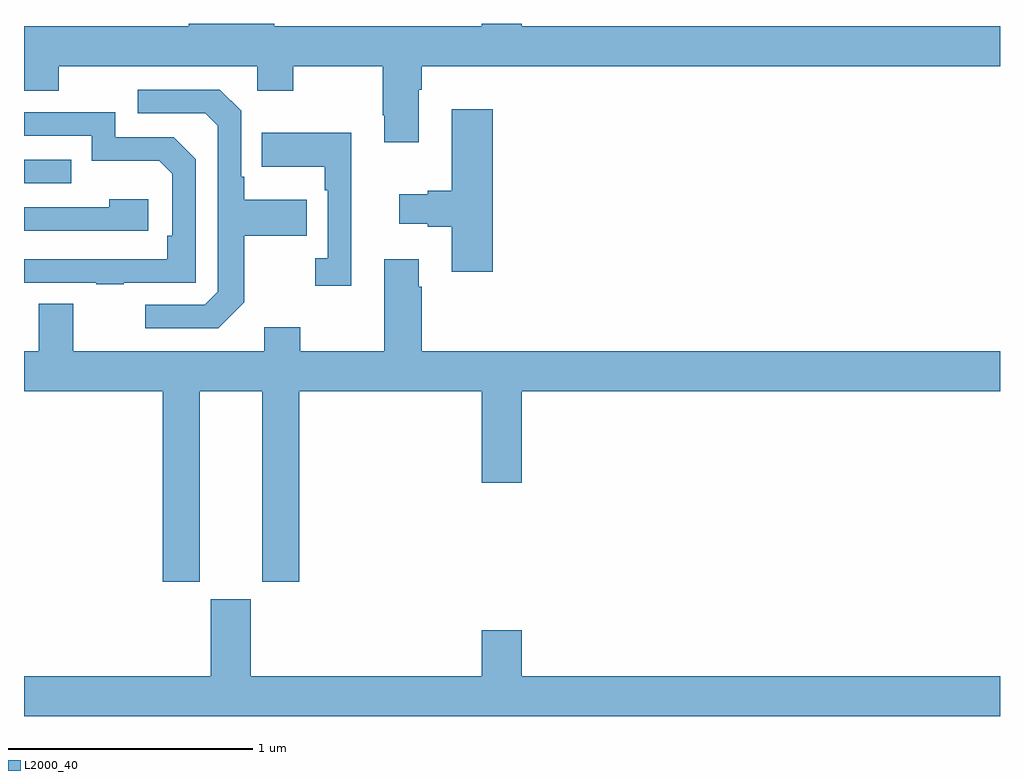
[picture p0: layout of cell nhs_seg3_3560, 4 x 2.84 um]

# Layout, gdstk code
import gdstk
lib = gdstk.Library(unit=1e-6, precision=1e-09)
def R(c, l, rs):  # rectangles x0, y0, x1, y1
    for r in rs: c.add(gdstk.rectangle(r[:2], r[2:], *l))
def P(c, l, *ps):  # polygons
    for p in ps: c.add(gdstk.Polygon(p, *l))
L2000_40 = (2000, 40)

nhs_seg3_3560 = lib.new_cell('nhs_seg3_3560')
R(nhs_seg3_3560, L2000_40, [(295,725.745,295.193,725.841)])
P(nhs_seg3_3560, L2000_40, [(299,726.388),(297.04,726.388),(297.04,726.4),(296.876,726.4),(296.876,726.388),(296.026,726.388),(296.026,726.4),(295.676,726.4),(295.676,726.388),(295,726.388),(295,726.125),(295.143,726.125),(295.143,726.224),(295.956,726.224),(295.956,726.125),(296.103,726.125),(296.103,726.224),(296.47,726.224),(296.47,726.025),(296.477,726.025),(296.477,725.913),(296.617,725.913),(296.617,726.128),(296.63,726.128),(296.63,726.224),(299,726.224)],
  [(295.903,725.257),(295.903,725.53),(296.159,725.53),(296.159,725.677),(295.903,725.677),(295.903,725.773),(295.89,725.773),(295.89,726.042),(295.803,726.129),(295.467,726.129),(295.467,726.033),(295.743,726.033),(295.794,725.982),(295.794,725.301),(295.74,725.247),(295.497,725.247),(295.497,725.151),(295.797,725.151)],
  [(296.921,726.049),(296.753,726.049),(296.753,725.714),(296.654,725.714),(296.654,725.701),(296.538,725.701),(296.538,725.579),(296.654,725.579),(296.654,725.567),(296.753,725.567),(296.753,725.382),(296.921,725.382)],
  [(295.409,725.337),(295.704,725.337),(295.704,725.844),(295.614,725.934),(295.374,725.934),(295.374,726.036),(295,726.036),(295,725.94),(295.278,725.94),(295.278,725.837),(295.555,725.837),(295.608,725.784),(295.608,725.53),(295.588,725.53),(295.588,725.433),(295,725.433),(295,725.337),(295.297,725.337),(295.297,725.332),(295.409,725.332)],
  [(296.342,725.953),(295.975,725.953),(295.975,725.813),(296.232,725.813),(296.232,725.717),(296.244,725.717),(296.244,725.438),(296.193,725.438),(296.193,725.325),(296.342,725.325)],
  [(295.51,725.68),(295.349,725.68),(295.349,725.646),(295,725.646),(295,725.55),(295.51,725.55)],
  [(296.876,724.518),(297.04,724.518),(297.04,724.892),(299,724.892),(299,725.056),(296.63,725.056),(296.63,725.321),(296.617,725.321),(296.617,725.434),(296.477,725.434),(296.477,725.056),(296.133,725.056),(296.133,725.155),(295.985,725.155),(295.985,725.056),(295.201,725.056),(295.201,725.251),(295.061,725.251),(295.061,725.056),(295,725.056),(295,724.892),(295.568,724.892),(295.568,724.113),(295.72,724.113),(295.72,724.892),(295.976,724.892),(295.976,724.113),(296.129,724.113),(296.129,724.892),(296.876,724.892)],
  [(299,723.724),(297.04,723.724),(297.04,723.913),(296.876,723.913),(296.876,723.724),(295.93,723.724),(295.93,724.041),(295.766,724.041),(295.766,723.724),(295,723.724),(295,723.56),(299,723.56)])

lib.write_gds('nhs_seg3_3560.gds')
